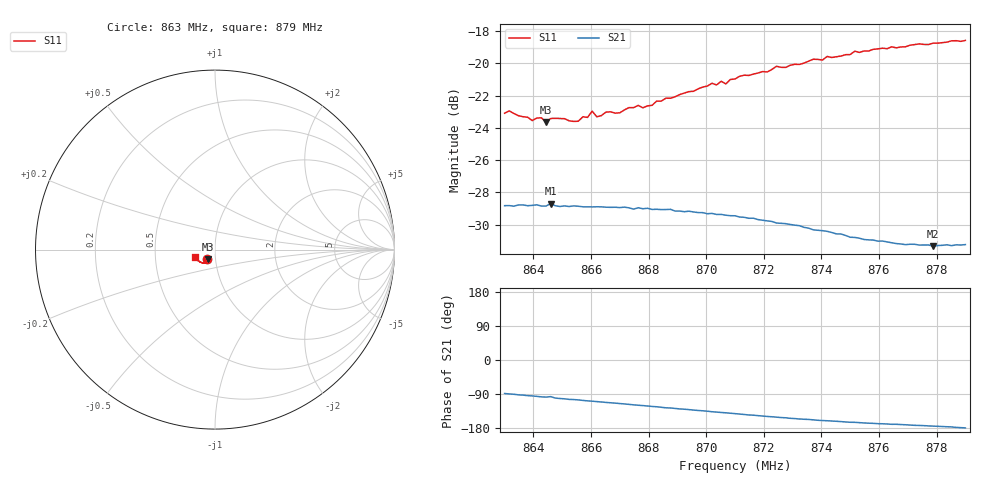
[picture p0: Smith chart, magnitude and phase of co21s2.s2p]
# HZ S RI R 50
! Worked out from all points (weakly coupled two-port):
!   101 points, 863 MHz to 879 MHz, reference 50 ohm
!   highest |S21| = -28.69 dB at 864.6 MHz (marker M1); lowest = -31.3 dB at 877.88 MHz (marker M2)
!   lowest |S11| = -23.7 dB at 864.44 MHz (marker M3), VSWR 1.14, Z = 46.1 - j4.94 ohm
!   |S11| at or under -10 dB: start of sweep to end of sweep
!   S12 and S22 are empty: the file has one direction only
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8.63e8  -0.0441 -0.0544  0.00101 -0.0362  0 0  0 0
8.6316e8  -0.045 -0.0552  0.000252 -0.0362  0 0  0 0
8.6396e8  -0.0394 -0.0535  -0.00303 -0.0362  0 0  0 0
8.6428e8  -0.0394 -0.0551  -0.00456 -0.0358  0 0  0 0
8.6444e8  -0.0381 -0.0534  -0.00498 -0.0358  0 0  0 0
8.646e8  -0.0365 -0.0567  -0.00423 -0.0365  0 0  0 0
8.6556e8  -0.0353 -0.0559  -0.0095 -0.0348  0 0  0 0
8.6572e8  -0.0355 -0.0583  -0.0103 -0.0344  0 0  0 0
8.6588e8  -0.0346 -0.0585  -0.011 -0.0342  0 0  0 0
8.6604e8  -0.0388 -0.0595  -0.0115 -0.034  0 0  0 0
8.662e8  -0.0347 -0.0588  -0.0122 -0.0338  0 0  0 0
8.6652e8  -0.0335 -0.0621  -0.0134 -0.0332  0 0  0 0
8.6844e8  -0.0368 -0.0669  -0.0201 -0.0289  0 0  0 0
8.702e8  -0.0447 -0.0742  -0.0249 -0.0236  0 0  0 0
8.7036e8  -0.0453 -0.0727  -0.0251 -0.023  0 0  0 0
8.7052e8  -0.0468 -0.0744  -0.0255 -0.0226  0 0  0 0
8.7068e8  -0.0463 -0.0728  -0.0257 -0.022  0 0  0 0
8.71e8  -0.0495 -0.0744  -0.0264 -0.021  0 0  0 0
8.7372e8  -0.0715 -0.0739  -0.0283 -0.0114  0 0  0 0
8.7644e8  -0.0942 -0.0613  -0.0274 -0.00498  0 0  0 0
8.7788e8  -0.1045 -0.0487  -0.027 -0.00263  0 0  0 0
8.79e8  -0.1111 -0.0385  -0.0274 -0.000405  0 0  0 0
